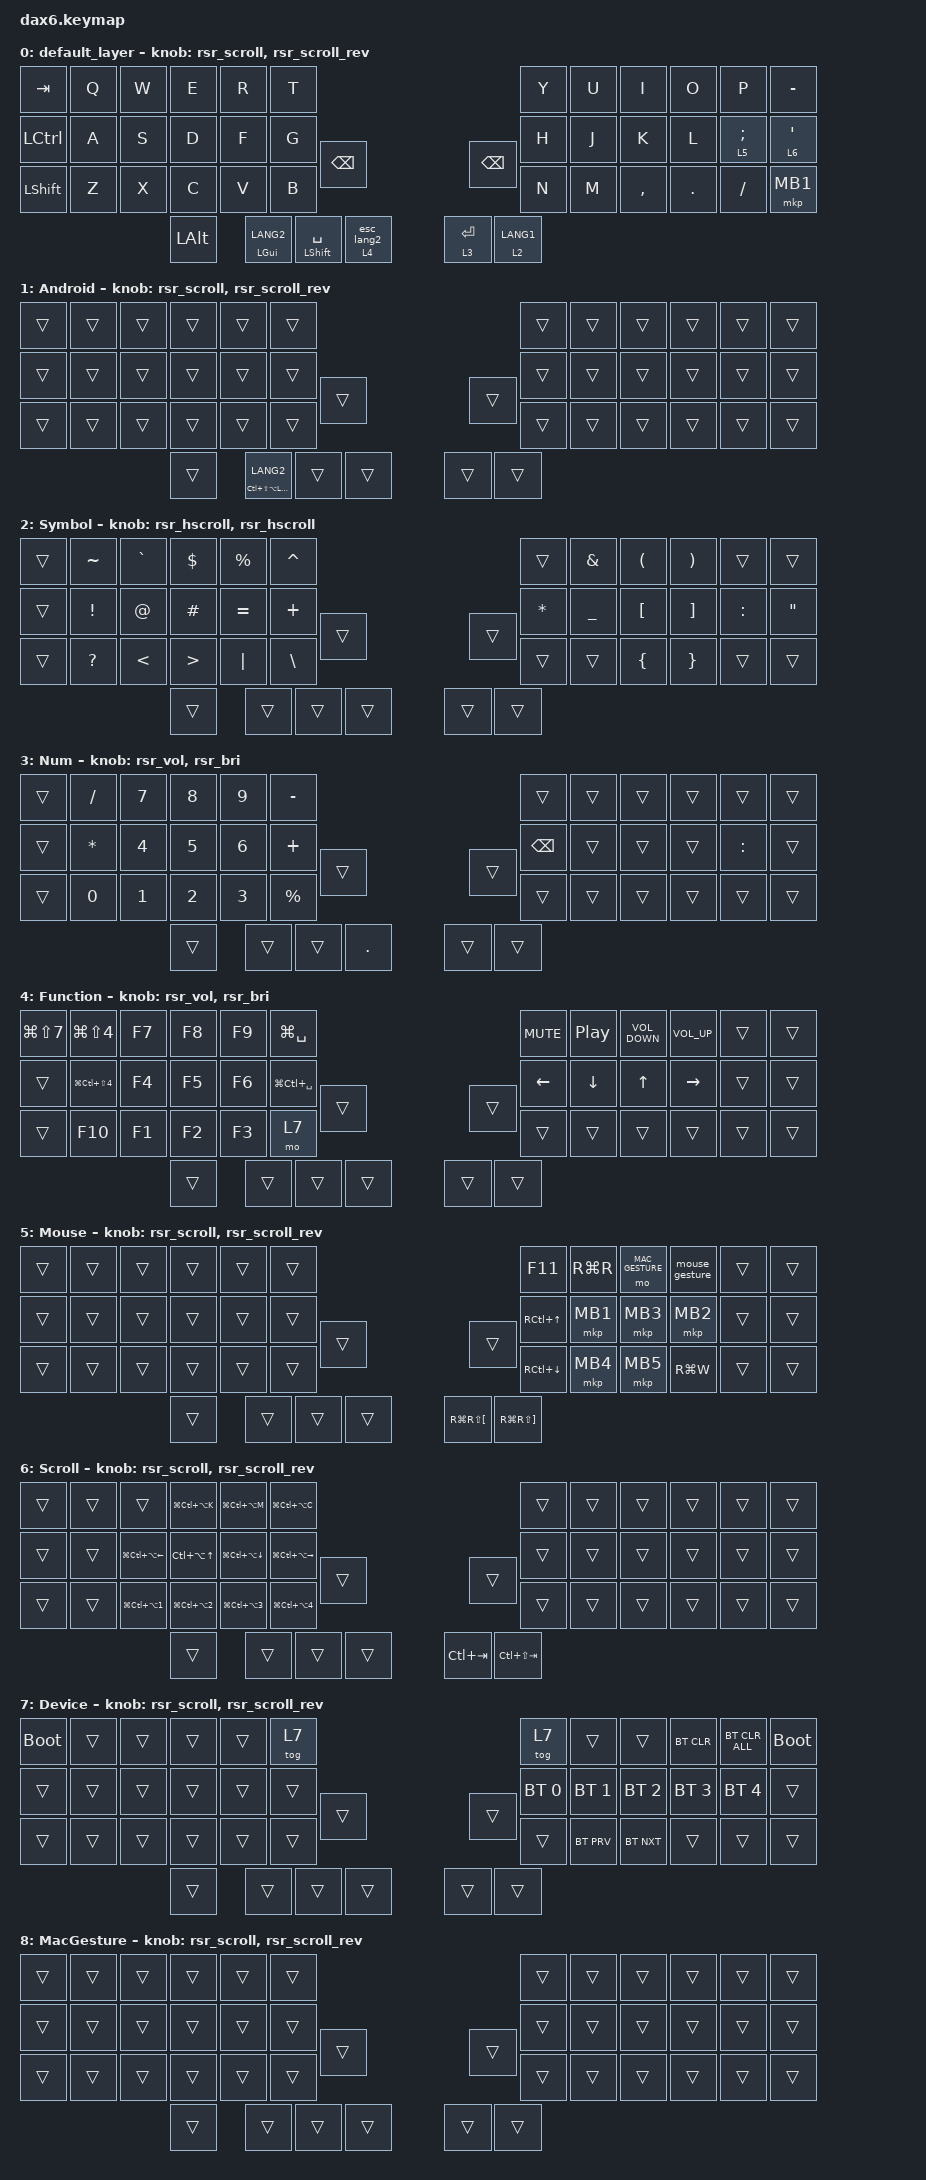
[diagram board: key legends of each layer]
#define ZMK_POINTING_DEFAULT_SCRL_VAL 120

#include <behaviors.dtsi>
#include <behaviors/runtime-sensor-rotate.dtsi>
#include <dt-bindings/zmk/bt.h>
#include <dt-bindings/zmk/input_transform.h>
#include <dt-bindings/zmk/keys.h>
#include <dt-bindings/zmk/pointing.h>
#include <input/processors.dtsi>
#include <mouse-gesture.dtsi>

// Ctrl+Alt+Shift+Meta as a single modifier. The keycode itself is a modifier
// usage, so it lands in the HID modifier byte and a bare tap sends no character.
#define HYPER LC(LS(LA(LGUI)))

#define ANDROID 1
#define MOUSE 5
#define SCROLL 6
#define NUM 3
#define MAC_GESTURE 8

&zip_mouse_gesture {
    stroke-size = <300>;
    enable-eager-mode;
    suppress-movement;
    idle-timeout-ms = <150>;
    gesture-cooldown-ms = <200>;

    g_back {
        pattern = <GESTURE_LEFT>;
        bindings = <&kp LG(LEFT_BRACKET)>;
    };

    g_fwd {
        pattern = <GESTURE_RIGHT>;
        bindings = <&kp LG(RIGHT_BRACKET)>;
    };

    g_top {
        pattern = <GESTURE_UP>;
        bindings = <&kp LG(UP_ARROW)>;
    };

    g_bottom {
        pattern = <GESTURE_DOWN>;
        bindings = <&kp LG(DOWN_ARROW)>;
    };
};

/ {
    zip_mouse_gesture_mac: zip_mouse_gesture_mac {
        compatible = "zmk,input-processor-mouse-gesture";
        #input-processor-cells = <0>;
        stroke-size = <300>;
        enable-eager-mode;
        always-active;
        idle-timeout-ms = <150>;
        gesture-cooldown-ms = <200>;

        mg_desktop {
            pattern = <GESTURE_UP>;
            bindings = <&kp F11>;
        };

        mg_mission_control {
            pattern = <GESTURE_RIGHT>;
            bindings = <&kp RC(UP_ARROW)>;
        };

        mg_app_expose {
            pattern = <GESTURE_DOWN>;
            bindings = <&kp RC(DOWN)>;
        };

        mg_spotlight {
            pattern = <GESTURE_LEFT>;
            bindings = <&kp LG(SPACE)>;
        };
    };


    // A layer override can never suppress movement: input_listener.c:223-225 returns 0
    // instead of the chain's ZMK_INPUT_PROC_STOP, so `suppress-movement` only takes
    // effect from the base chain. Renaming the Android chain's axes to RX/RY hides
    // them from the macOS gesture node and from the base transform, which lets the
    // Android gesture node sit in the base chain and stop the cursor for real.
    // RX/RY never reach the host — handle_rel_code() only knows X/Y/WHEEL/HWHEEL —
    // so the base chain has to rename them back on the way out.
    zip_xy_to_gesture_axis: zip_xy_to_gesture_axis {
        compatible = "zmk,input-processor-code-mapper";
        #input-processor-cells = <0>;
        type = <INPUT_EV_REL>;
        map
            = <INPUT_REL_X INPUT_REL_RX>
            , <INPUT_REL_Y INPUT_REL_RY>
            ;
    };

    zip_gesture_axis_to_xy: zip_gesture_axis_to_xy {
        compatible = "zmk,input-processor-code-mapper";
        #input-processor-cells = <0>;
        type = <INPUT_EV_REL>;
        map
            = <INPUT_REL_RX INPUT_REL_X>
            , <INPUT_REL_RY INPUT_REL_Y>
            ;
    };

    zip_mouse_gesture_android: zip_mouse_gesture_android {
        compatible = "zmk,input-processor-mouse-gesture";
        #input-processor-cells = <0>;
        event-code-x = <INPUT_REL_RX>;
        event-code-y = <INPUT_REL_RY>;
        stroke-size = <300>;
        enable-eager-mode;
        suppress-movement;
        idle-timeout-ms = <150>;
        gesture-cooldown-ms = <200>;

        g_back {
            pattern = <GESTURE_LEFT>;
            bindings = <&kp C_AC_BACK>;
        };
    };
};

// Encoder scroll reaches the host through &msc, which owns its own input-listener.
// The listener lives in behaviors.dtsi, which the shield overlay is parsed before,
// so the Android direction flip has to be declared here rather than in the overlay.
&msc_input_listener {
    android_encoder_override {
        layers = <ANDROID>;
        input-processors
            = <&zip_scroll_transform (INPUT_TRANSFORM_Y_INVERT)>
            , <&zip_scroll_scaler 3 5>
            ;
    };
};

&mt {
    quick-tap-ms = <0>;
    tapping-term-ms = <160>;
    flavor = "balanced";
};

&lt {
    flavor = "balanced";
    tapping-term-ms = <160>;
    quick-tap-ms = <0>;
};

// The rsr_* behaviors below are compile-time defaults for the encoders. DYA
// Studio overrides them per sensor and layer at runtime, and a layer only
// becomes editable there when its sensor-bindings resolve to one of them.
// Every variant sets tap-ms to 20, including the &kp ones: &msc ticks every
// 16 ms, and DYA Studio reuses a layer's current tap-ms when it rebinds, so the
// binding default of 5 would leave a later &msc silent.
/ {
    combos {
        compatible = "zmk,combos";

        to_device {
            bindings = <&mo 7>;
            key-positions = <0 29>;
            layers = <0 1>;
        };

        kl_scroll {
            bindings = <&mo 6>;
            key-positions = <20 21>;
            layers = <0 1>;
        };

        to_device_left {
            bindings = <&tog 7>;
            key-positions = <0 12 24>;
            layers = <0 1>;
        };

        to_device_right {
            bindings = <&tog 7>;
            key-positions = <11 23 37>;
            layers = <0 1>;
        };
    };

    macros {
        esc_lang2: esc_lang2 {
            compatible = "zmk,behavior-macro";
            #binding-cells = <0>;
            bindings = <&macro_tap>, <&kp ESCAPE &kp LANG2>;
        };
    };

    behaviors {
        esc_lang2_with_layer: esc_lang2_with_layer {
            compatible = "zmk,behavior-hold-tap";
            bindings = <&mo>, <&esc_lang2>;
            #binding-cells = <2>;
            tapping-term-ms = <160>;
            flavor = "balanced";
        };

        rsr_scroll: rsr_scroll {
            compatible = "zmk,behavior-runtime-sensor-rotate";
            #sensor-binding-cells = <0>;
            tap-ms = <20>;
            cw-binding = <&msc SCRL_UP>;
            ccw-binding = <&msc SCRL_DOWN>;
        };

        rsr_scroll_rev: rsr_scroll_rev {
            compatible = "zmk,behavior-runtime-sensor-rotate";
            #sensor-binding-cells = <0>;
            tap-ms = <20>;
            cw-binding = <&msc SCRL_DOWN>;
            ccw-binding = <&msc SCRL_UP>;
        };

        rsr_hscroll: rsr_hscroll {
            compatible = "zmk,behavior-runtime-sensor-rotate";
            #sensor-binding-cells = <0>;
            tap-ms = <20>;
            cw-binding = <&msc SCRL_RIGHT>;
            ccw-binding = <&msc SCRL_LEFT>;
        };

        rsr_vol: rsr_vol {
            compatible = "zmk,behavior-runtime-sensor-rotate";
            #sensor-binding-cells = <0>;
            tap-ms = <20>;
            cw-binding = <&kp C_VOL_DN>;
            ccw-binding = <&kp C_VOL_UP>;
        };

        rsr_bri: rsr_bri {
            compatible = "zmk,behavior-runtime-sensor-rotate";
            #sensor-binding-cells = <0>;
            tap-ms = <20>;
            cw-binding = <&kp C_BRI_INC>;
            ccw-binding = <&kp C_BRI_DEC>;
        };
    };

    keymap {
        compatible = "zmk,keymap";

        default_layer {
            bindings = <
&kp TAB          &kp Q   &kp W   &kp E          &kp R                &kp T                                                                              &kp Y         &kp U   &kp I       &kp O     &kp P             &kp MINUS
&kp LCTRL        &kp A   &kp S   &kp D          &kp F                &kp G                                                                              &kp H         &kp J   &kp K       &kp L     &lt 5 SEMICOLON   &lt 6 SINGLE_QUOTE
&kp LEFT_SHIFT   &kp Z   &kp X   &kp C          &kp V                &kp B                  &kp BACKSPACE                               &kp BACKSPACE   &kp N         &kp M   &kp COMMA   &kp DOT   &kp SLASH         &mkp MB1
                                 &kp LEFT_ALT   &mt LEFT_GUI LANG2   &mt LEFT_SHIFT SPACE   &esc_lang2_with_layer 4 0                   &lt 3 ENTER     &lt 2 LANG1
            >;

            sensor-bindings = <&rsr_scroll>, <&rsr_scroll_rev>;
        };

        Android {
            bindings = <
&trans   &trans   &trans   &trans   &trans            &trans                                     &trans   &trans   &trans   &trans   &trans   &trans
&trans   &trans   &trans   &trans   &trans            &trans                                     &trans   &trans   &trans   &trans   &trans   &trans
&trans   &trans   &trans   &trans   &trans            &trans   &trans                   &trans   &trans   &trans   &trans   &trans   &trans   &trans
                           &trans   &mt HYPER LANG2   &trans   &trans                   &trans   &trans
            >;

            sensor-bindings = <&rsr_scroll>, <&rsr_scroll_rev>;
        };

        Symbol {
            bindings = <
&trans   &kp TILDE         &kp GRAVE       &kp DOLLAR         &kp PERCENT   &kp CARET                                         &trans      &kp AMPERSAND    &kp LEFT_PARENTHESIS   &kp RIGHT_PARENTHESIS   &trans      &trans
&trans   &kp EXCLAMATION   &kp AT_SIGN     &kp HASH           &kp EQUAL     &kp PLUS                                          &kp ASTRK   &kp UNDERSCORE   &kp LEFT_BRACKET       &kp RIGHT_BRACKET       &kp COLON   &kp DOUBLE_QUOTES
&trans   &kp QUESTION      &kp LESS_THAN   &kp GREATER_THAN   &kp PIPE      &kp BACKSLASH   &trans                   &trans   &trans      &trans           &kp LEFT_BRACE         &kp RIGHT_BRACE         &trans      &trans
                                           &trans             &trans        &trans          &trans                   &trans   &trans
            >;

            sensor-bindings = <&rsr_hscroll>, <&rsr_hscroll>;
        };

        Num {
            bindings = <
&trans   &kp SLASH      &kp N7         &kp N8         &kp N9         &kp MINUS                                           &trans          &trans   &trans   &trans   &trans      &trans
&trans   &kp ASTERISK   &kp NUMBER_4   &kp N5         &kp NUMBER_6   &kp PLUS                                            &kp BACKSPACE   &trans   &trans   &trans   &kp COLON   &trans
&trans   &kp N0         &kp NUMBER_1   &kp NUMBER_2   &kp NUMBER_3   &kp PERCENT   &trans                       &trans   &trans          &trans   &trans   &trans   &trans      &trans
                                       &trans         &trans         &trans        &kp PERIOD                   &trans   &trans
            >;

            sensor-bindings = <&rsr_vol>, <&rsr_bri>;
        };

        Function {
            bindings = <
&kp LG(LS(N7))   &kp LG(LS(NUMBER_4))       &kp F7   &kp F8   &kp F9   &kp LG(SPACE)                                         &kp C_MUTE   &kp C_PP   &kp C_VOLUME_DOWN   &kp C_VOLUME_UP   &trans   &trans
&trans           &kp LG(LC(LS(NUMBER_4)))   &kp F4   &kp F5   &kp F6   &kp LG(LC(SPACE))                                     &kp LEFT     &kp DOWN   &kp UP_ARROW        &kp RIGHT         &trans   &trans
&trans           &kp F10                    &kp F1   &kp F2   &kp F3   &mo 7               &trans                   &trans   &trans       &trans     &trans              &trans            &trans   &trans
                                                     &trans   &trans   &trans              &trans                   &trans   &trans
            >;

            sensor-bindings = <&rsr_vol>, <&rsr_bri>;
        };

        Mouse {
            bindings = <
&trans   &trans   &trans   &trans   &trans   &trans                                                       &kp F11                     &kp RG(R)   &mo MAC_GESTURE   &mouse_gesture   &trans   &trans
&trans   &trans   &trans   &trans   &trans   &trans                                                       &kp RC(UP_ARROW)            &mkp MB1    &mkp MB3          &mkp MB2         &trans   &trans
&trans   &trans   &trans   &trans   &trans   &trans   &trans                   &trans                     &kp RC(DOWN)                &mkp MB4    &mkp MB5          &kp RG(W)        &trans   &trans
                           &trans   &trans   &trans   &trans                   &kp RG(RS(LEFT_BRACKET))   &kp RG(RS(RIGHT_BRACKET))
            >;

            sensor-bindings = <&rsr_scroll>, <&rsr_scroll_rev>;
        };

        Scroll {
            bindings = <
&trans   &trans   &trans                     &kp LG(LC(LA(K)))          &kp LG(LC(LA(M)))          &kp LG(LC(LA(C)))                                                 &trans            &trans   &trans   &trans   &trans   &trans
&trans   &trans   &kp LG(LC(LA(LEFT)))       &kp LC(LA(UP_ARROW))       &kp LG(LC(LA(DOWN)))       &kp LG(LC(LA(RIGHT)))                                             &trans            &trans   &trans   &trans   &trans   &trans
&trans   &trans   &kp LG(LC(LA(NUMBER_1)))   &kp LG(LC(LA(NUMBER_2)))   &kp LG(LC(LA(NUMBER_3)))   &kp LG(LC(LA(NUMBER_4)))   &trans                   &trans        &trans            &trans   &trans   &trans   &trans   &trans
                                             &trans                     &trans                     &trans                     &trans                   &kp LC(TAB)   &kp LC(LS(TAB))
            >;

            sensor-bindings = <&rsr_scroll>, <&rsr_scroll_rev>;
        };

        Device {
            bindings = <
&bootloader   &trans   &trans   &trans   &trans   &tog 7                                     &tog 7         &trans         &trans         &bt BT_CLR     &bt BT_CLR_ALL   &bootloader
&trans        &trans   &trans   &trans   &trans   &trans                                     &bt BT_SEL 0   &bt BT_SEL 1   &bt BT_SEL 2   &bt BT_SEL 3   &bt BT_SEL 4     &trans
&trans        &trans   &trans   &trans   &trans   &trans   &trans                   &trans   &trans         &bt BT_PRV     &bt BT_NXT     &trans         &trans           &trans
                                &trans   &trans   &trans   &trans                   &trans   &trans
            >;

            sensor-bindings = <&rsr_scroll>, <&rsr_scroll_rev>;
        };

        MacGesture {
            bindings = <
&trans   &trans   &trans   &trans   &trans   &trans                                     &trans   &trans   &trans   &trans   &trans   &trans
&trans   &trans   &trans   &trans   &trans   &trans                                     &trans   &trans   &trans   &trans   &trans   &trans
&trans   &trans   &trans   &trans   &trans   &trans   &trans                   &trans   &trans   &trans   &trans   &trans   &trans   &trans
                           &trans   &trans   &trans   &trans                   &trans   &trans
            >;

            sensor-bindings = <&rsr_scroll>, <&rsr_scroll_rev>;
        };
    };
};
